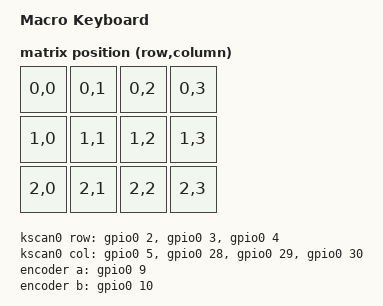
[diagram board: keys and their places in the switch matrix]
/dts-v1/;
#include <nordic/nrf52840_qiaa.dtsi>
#include <dt-bindings/zmk/matrix_transform.h>

/ {
    model = "Macro Keyboard";
    compatible = "macro,keyboard";

    chosen {
        zephyr,code-partition = &code_partition;
        zephyr,sram = &sram0;
        zephyr,flash = &flash0;
        zephyr,console = &cdc_acm_uart;
        zmk,kscan = &kscan0;
        zmk,battery = &vbatt;
        zmk,matrix-transform = &default_transform;
        zmk,physical-layout = &physical_layout;
    };

    physical_layout: physical_layout {
        compatible = "zmk,physical-layout";
        display-name = "Default Layout";
        transform = <&default_transform>;
        kscan = <&kscan0>;
    };

    default_transform: keymap_transform_0 {
        compatible = "zmk,matrix-transform";
        columns = <4>;
        rows = <3>;
        map = <
            RC(0,0) RC(0,1) RC(0,2) RC(0,3)
            RC(1,0) RC(1,1) RC(1,2) RC(1,3)
            RC(2,0) RC(2,1) RC(2,2) RC(2,3)
        >;
    };

    kscan0: kscan {
        compatible = "zmk,kscan-gpio-matrix";
        wakeup-source;
        diode-direction = "col2row";
        
        row-gpios
            = <&gpio0 2 (GPIO_ACTIVE_HIGH | GPIO_PULL_DOWN)>
            , <&gpio0 3 (GPIO_ACTIVE_HIGH | GPIO_PULL_DOWN)>
            , <&gpio0 4 (GPIO_ACTIVE_HIGH | GPIO_PULL_DOWN)>
            ;
        
        col-gpios
            = <&gpio0 5 GPIO_ACTIVE_HIGH>
            , <&gpio0 28 GPIO_ACTIVE_HIGH>
            , <&gpio0 29 GPIO_ACTIVE_HIGH>
            , <&gpio0 30 GPIO_ACTIVE_HIGH>
            ;
    };

    encoder: encoder {
        compatible = "alps,ec11";
        a-gpios = <&gpio0 9 (GPIO_ACTIVE_HIGH | GPIO_PULL_UP)>;
        b-gpios = <&gpio0 10 (GPIO_ACTIVE_HIGH | GPIO_PULL_UP)>;
        steps = <80>;
        status = "okay";
    };

    sensors: sensors {
        compatible = "zmk,keymap-sensors";
        sensors = <&encoder>;
        triggers-per-rotation = <20>;
    };

    vbatt: vbatt {
        compatible = "zmk,battery-voltage-divider";
        io-channels = <&adc 2>;
        output-ohms = <330000>;
        full-ohms = <(330000 + 1000000)>;
    };
};

&adc {
    status = "okay";
    #address-cells = <1>;
    #size-cells = <0>;
    
    channel@2 {
        reg = <2>;
        zephyr,gain = "ADC_GAIN_1_6";
        zephyr,reference = "ADC_REF_INTERNAL";
        zephyr,acquisition-time = <ADC_ACQ_TIME_DEFAULT>;
        zephyr,input-positive = <NRF_SAADC_AIN2>;
        zephyr,resolution = <12>;
    };
};

&gpiote {
    status = "okay";
};

&gpio0 {
    status = "okay";
};

&gpio1 {
    status = "okay";
};

&usbd {
    status = "okay";
    cdc_acm_uart: cdc_acm_uart {
        compatible = "zephyr,cdc-acm-uart";
    };
};

&flash0 {
    partitions {
        compatible = "fixed-partitions";
        #address-cells = <1>;
        #size-cells = <1>;

        sd_partition: partition@0 {
            label = "softdevice";
            reg = <0x00000000 0x00026000>;
        };
        code_partition: partition@26000 {
            label = "code_partition";
            reg = <0x00026000 0x000c6000>;
        };
        storage_partition: partition@ec000 {
            label = "storage";
            reg = <0x000ec000 0x00008000>;
        };
        boot_partition: partition@f4000 {
            label = "adafruit_boot";
            reg = <0x000f4000 0x0000c000>;
        };
    };
};

&i2c0 {
    compatible = "nordic,nrf-twi";
    status = "okay";
    pinctrl-0 = <&i2c0_default>;
    pinctrl-1 = <&i2c0_sleep>;
    pinctrl-names = "default", "sleep";
    
    oled: ssd1306@3c {
        compatible = "solomon,ssd1306fb";
        reg = <0x3c>;
        width = <128>;
        height = <64>;
        segment-offset = <0>;
        page-offset = <0>;
        display-offset = <0>;
        multiplex-ratio = <63>;
        segment-remap;
        com-invdir;
        prechargep = <0x22>;
    };
};

&pinctrl {
    i2c0_default: i2c0_default {
        group1 {
            psels = <NRF_PSEL(TWIM_SDA, 1, 1)>,
                    <NRF_PSEL(TWIM_SCL, 1, 2)>;
        };
    };

    i2c0_sleep: i2c0_sleep {
        group1 {
            psels = <NRF_PSEL(TWIM_SDA, 1, 1)>,
                    <NRF_PSEL(TWIM_SCL, 1, 2)>;
            low-power-enable;
        };
    };
};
